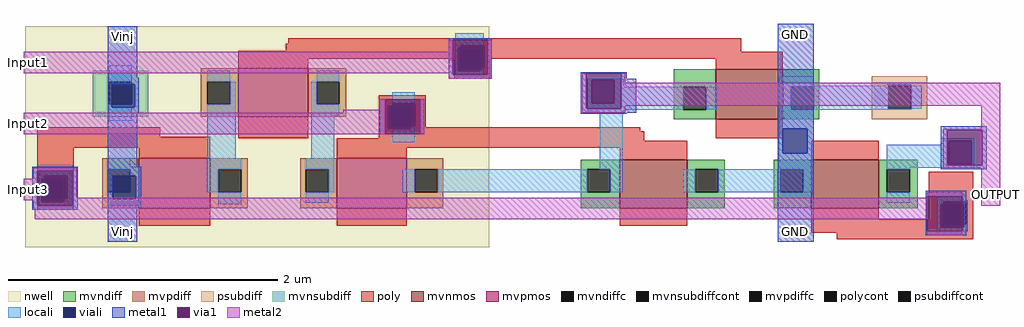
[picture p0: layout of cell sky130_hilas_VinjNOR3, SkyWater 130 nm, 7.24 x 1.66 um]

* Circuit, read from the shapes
.subckt sky130_hilas_VinjNOR3 OUTPUT
XM1 GND Input2 OUTPUT GND sky130_fd_pr__nfet_g5v0d10v5 w=0.36 l=0.5
XM2 GND Input1 OUTPUT GND sky130_fd_pr__nfet_g5v0d10v5 w=0.37 l=0.5
XM3 OUTPUT Input3 GND GND sky130_fd_pr__nfet_g5v0d10v5 w=0.36 l=0.5
XM4 n1 Input3 Vinj Vinj sky130_fd_pr__pfet_g5v0d10v5 w=0.37 l=0.53
XM5 n2 Input1 n1 Vinj sky130_fd_pr__pfet_g5v0d10v5 w=0.36 l=0.52
XM6 OUTPUT Input2 n2 Vinj sky130_fd_pr__pfet_g5v0d10v5 w=0.37 l=0.52
.ends

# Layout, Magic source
magic
tech sky130A
<< nwell >>
rect -336 144 8 308
<< mvnmos >>
rect 176 239 226 276
rect 105 173 155 209
rect 247 173 297 209
<< mvpmos >>
rect -178 241 -126 277
rect -252 173 -199 210
rect -105 173 -53 210
<< mvndiff >>
rect 145 263 176 276
rect 145 246 152 263
rect 169 246 176 263
rect 145 239 176 246
rect 226 263 253 276
rect 226 246 232 263
rect 249 246 253 263
rect 226 239 253 246
rect 76 202 105 209
rect 76 185 81 202
rect 98 185 105 202
rect 76 173 105 185
rect 155 202 183 209
rect 155 185 161 202
rect 178 185 183 202
rect 155 173 183 185
rect 219 202 247 209
rect 219 185 224 202
rect 241 185 247 202
rect 219 173 247 185
rect 297 202 326 209
rect 297 185 303 202
rect 320 185 326 202
rect 297 173 326 185
<< mvpdiff >>
rect -206 267 -178 277
rect -206 250 -201 267
rect -184 250 -178 267
rect -206 241 -178 250
rect -126 267 -98 277
rect -126 250 -120 267
rect -103 250 -98 267
rect -126 241 -98 250
rect -279 202 -252 210
rect -279 185 -275 202
rect -258 185 -252 202
rect -279 173 -252 185
rect -199 202 -171 210
rect -199 185 -193 202
rect -176 185 -171 202
rect -199 173 -171 185
rect -132 202 -105 210
rect -132 185 -128 202
rect -111 185 -105 202
rect -132 173 -105 185
rect -53 202 -26 210
rect -53 185 -47 202
rect -30 185 -26 202
rect -53 173 -26 185
<< mvndiffc >>
rect 152 246 169 263
rect 232 246 249 263
rect 81 185 98 202
rect 161 185 178 202
rect 224 185 241 202
rect 303 185 320 202
<< mvpdiffc >>
rect -201 250 -184 267
rect -120 250 -103 267
rect -275 185 -258 202
rect -193 185 -176 202
rect -128 185 -111 202
rect -47 185 -30 202
<< psubdiff >>
rect 292 264 333 271
rect 292 247 304 264
rect 321 247 333 264
rect 292 239 333 247
<< mvnsubdiff >>
rect -286 267 -245 275
rect -286 250 -274 267
rect -257 250 -245 267
rect -286 241 -245 250
<< psubdiffcont >>
rect 304 247 321 264
<< mvnsubdiffcont >>
rect -274 250 -257 267
<< poly >>
rect -141 295 195 299
rect -143 294 195 295
rect -143 290 -13 294
rect -178 284 -13 290
rect -178 277 -126 284
rect -19 283 -13 284
rect -18 277 -13 283
rect 4 289 195 294
rect 4 284 226 289
rect 4 277 9 284
rect -18 269 9 277
rect 176 276 226 284
rect -74 251 -39 257
rect -327 226 -236 233
rect -327 218 -199 226
rect -178 225 -126 241
rect -74 234 -64 251
rect -47 234 -39 251
rect -74 233 -39 234
rect -74 230 120 233
rect -74 225 123 230
rect 176 225 226 239
rect -327 197 -300 218
rect -252 210 -199 218
rect -105 223 123 225
rect -105 218 155 223
rect -105 210 -53 218
rect -327 180 -322 197
rect -305 180 -300 197
rect -327 172 -300 180
rect 105 209 155 218
rect 247 209 297 223
rect 334 178 367 200
rect -252 160 -199 173
rect -105 160 -53 173
rect 105 160 155 173
rect 247 165 297 173
rect 334 165 345 178
rect 247 161 345 165
rect 362 161 367 178
rect 247 155 367 161
rect 266 150 367 155
<< polycont >>
rect -13 277 4 294
rect -64 234 -47 251
rect -322 180 -305 197
rect 345 161 362 178
<< locali >>
rect -17 294 4 303
rect -17 292 -13 294
rect -274 267 -257 279
rect -17 275 -15 292
rect 2 275 4 277
rect -201 267 -184 275
rect -120 267 -103 275
rect -17 269 4 275
rect -274 248 -272 250
rect -184 250 -180 267
rect -274 238 -257 248
rect -201 210 -180 250
rect -124 250 -120 267
rect 81 268 108 269
rect -124 242 -103 250
rect -64 251 -47 259
rect -124 210 -107 242
rect 81 251 84 268
rect 101 263 108 268
rect 223 264 249 271
rect 303 264 321 265
rect 223 263 304 264
rect 101 251 152 263
rect 81 246 152 251
rect 169 246 177 263
rect 223 246 232 263
rect 249 247 304 263
rect 321 247 329 264
rect 249 246 321 247
rect 81 245 108 246
rect -50 232 -47 234
rect -64 222 -47 232
rect -326 197 -301 205
rect -326 195 -322 197
rect -326 178 -324 195
rect -305 180 -301 197
rect -307 178 -301 180
rect -326 172 -301 178
rect -275 204 -258 210
rect -275 202 -250 204
rect -258 197 -250 202
rect -275 180 -271 185
rect -254 180 -250 197
rect -201 202 -176 210
rect -201 185 -193 202
rect -275 177 -250 180
rect -274 175 -250 177
rect -193 176 -176 185
rect -128 202 -107 210
rect 90 202 107 245
rect 223 232 249 246
rect 223 214 226 232
rect 244 214 249 232
rect 343 223 368 225
rect 343 220 349 223
rect 223 202 249 214
rect -111 185 -107 202
rect -56 185 -47 202
rect -30 185 81 202
rect 98 185 107 202
rect 152 185 161 202
rect 178 185 224 202
rect 241 185 249 202
rect 303 206 349 220
rect 366 206 368 223
rect 303 203 368 206
rect 303 202 320 203
rect -128 177 -111 185
rect 303 177 320 185
rect 340 178 362 186
rect 340 176 345 178
rect 340 159 343 176
rect 360 159 362 161
rect 340 153 362 159
<< viali >>
rect -15 277 -13 292
rect -13 277 2 292
rect -15 275 2 277
rect -272 250 -257 265
rect -257 250 -255 265
rect -272 248 -255 250
rect -67 234 -64 249
rect -64 234 -50 249
rect 84 251 101 268
rect -67 232 -50 234
rect -324 180 -322 195
rect -322 180 -307 195
rect -324 178 -307 180
rect -271 185 -258 197
rect -258 185 -254 197
rect -271 180 -254 185
rect 226 214 244 232
rect 349 206 366 223
rect 343 161 345 176
rect 345 161 360 176
rect 343 159 360 161
<< metal1 >>
rect -275 270 -253 308
rect -22 298 10 299
rect -22 272 -19 298
rect 7 272 10 298
rect -275 265 -252 270
rect -22 269 10 272
rect 76 273 110 274
rect -275 248 -272 265
rect -255 248 -252 265
rect -275 244 -252 248
rect -275 204 -253 244
rect -73 228 -69 254
rect -43 228 -40 254
rect 76 247 80 273
rect 106 269 110 273
rect 106 247 117 269
rect 76 244 117 247
rect 76 243 110 244
rect 222 232 249 310
rect 222 214 226 232
rect 244 214 249 232
rect -331 201 -297 204
rect -331 175 -327 201
rect -301 175 -297 201
rect -331 172 -297 175
rect -275 197 -250 204
rect -275 180 -271 197
rect -254 180 -250 197
rect -275 173 -250 180
rect -275 148 -253 173
rect 222 148 249 214
rect 343 231 377 234
rect 343 205 348 231
rect 374 205 377 231
rect 343 202 377 205
rect 332 182 362 186
rect 332 156 333 182
rect 359 179 362 182
rect 359 176 363 179
rect 360 159 363 176
rect 359 156 363 159
rect 332 153 362 156
<< via1 >>
rect -19 292 7 298
rect -19 275 -15 292
rect -15 275 2 292
rect 2 275 7 292
rect -19 272 7 275
rect -69 249 -43 254
rect -69 232 -67 249
rect -67 232 -50 249
rect -50 232 -43 249
rect -69 228 -43 232
rect 80 268 106 273
rect 80 251 84 268
rect 84 251 101 268
rect 101 251 106 268
rect 80 247 106 251
rect -327 195 -301 201
rect -327 178 -324 195
rect -324 178 -307 195
rect -307 178 -301 195
rect -327 175 -301 178
rect 348 223 374 231
rect 348 206 349 223
rect 349 206 366 223
rect 366 206 374 223
rect 348 205 374 206
rect 333 176 359 182
rect 333 159 343 176
rect 343 159 359 176
rect 333 156 359 159
<< metal2 >>
rect -22 289 -19 298
rect -337 273 -19 289
rect -22 272 -19 273
rect 7 272 10 298
rect -22 269 10 272
rect -73 246 -69 254
rect -100 244 -69 246
rect -337 228 -69 244
rect -43 228 -40 254
rect 77 247 80 273
rect 106 266 109 273
rect 106 249 387 266
rect 106 247 109 249
rect 77 244 109 247
rect 373 232 387 249
rect 345 231 387 232
rect 345 205 348 231
rect 374 205 387 231
rect 345 203 387 205
rect -330 201 -298 203
rect -330 195 -327 201
rect -337 179 -327 195
rect -330 175 -327 179
rect -301 181 -298 201
rect 333 182 359 185
rect -301 175 333 181
rect -330 173 333 175
rect -329 165 333 173
rect 373 175 387 203
rect 333 153 359 156
<< labels >>
rlabel metal2 -337 273 -331 289 0 Input1
rlabel metal2 -337 228 -331 244 0 Input2
rlabel metal2 -337 179 -331 195 0 Input3
rlabel metal1 222 299 249 305 0 GND
rlabel metal1 222 153 249 158 0 GND
rlabel metal1 -275 153 -253 159 0 Vinj
rlabel metal1 -275 297 -253 304 0 Vinj
rlabel metal2 381 175 387 192 0 OUTPUT
port 1 nsew
<< end >>
